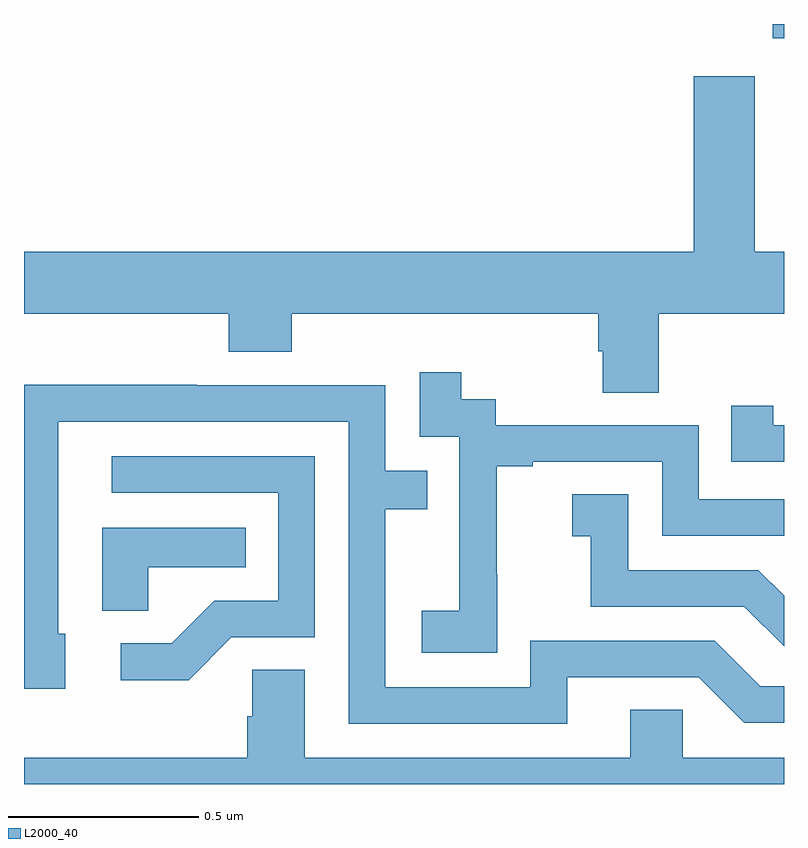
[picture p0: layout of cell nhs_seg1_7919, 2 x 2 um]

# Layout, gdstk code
import gdstk
lib = gdstk.Library(unit=1e-6, precision=1e-09)
def R(c, l, rs):  # rectangles x0, y0, x1, y1
    for r in rs: c.add(gdstk.rectangle(r[:2], r[2:], *l))
def P(c, l, *ps):  # polygons
    for p in ps: c.add(gdstk.Polygon(p, *l))
L2000_40 = (2000, 40)

nhs_seg1_7919 = lib.new_cell('nhs_seg1_7919')
R(nhs_seg1_7919, L2000_40, [(211.97,515.162,212,515.199)])
P(nhs_seg1_7919, L2000_40, [(210,514.436),(210.539,514.436),(210.539,514.337),(210.704,514.337),(210.704,514.436),(211.511,514.436),(211.511,514.338),(211.523,514.338),(211.523,514.228),(211.671,514.228),(211.671,514.436),(212,514.436),(212,514.6),(211.923,514.6),(211.923,515.062),(211.763,515.062),(211.763,514.6),(210,514.6)],
  [(211.245,513.751),(211.244,513.751),(211.244,514.035),(211.339,514.035),(211.339,514.047),(211.68,514.047),(211.68,513.852),(212,513.852),(212,513.948),(211.776,513.948),(211.776,514.143),(211.242,514.143),(211.242,514.212),(211.15,514.212),(211.15,514.282),(211.041,514.282),(211.041,514.113),(211.146,514.113),(211.146,513.884),(211.145,513.884),(211.145,513.655),(211.047,513.655),(211.047,513.545),(211.245,513.545)],
  [(211.429,513.48),(211.776,513.48),(211.896,513.36),(212,513.36),(212,513.456),(211.938,513.456),(211.818,513.576),(211.332,513.576),(211.332,513.453),(210.951,513.453),(210.951,513.922),(211.061,513.922),(211.061,514.023),(210.951,514.023),(210.951,514.248),(210.455,514.248),(210.455,514.25),(210,514.25),(210,513.45),(210.109,513.45),(210.109,513.594),(210.09,513.594),(210.09,514.152),(210.855,514.152),(210.855,513.357),(211.429,513.357)],
  [(212,514.143),(211.972,514.143),(211.972,514.195),(211.861,514.195),(211.861,514.047),(212,514.047)],
  [(210.546,513.585),(210.765,513.585),(210.765,514.062),(210.231,514.062),(210.231,513.966),(210.669,513.966),(210.669,513.681),(210.5,513.681),(210.389,513.57),(210.255,513.57),(210.255,513.472),(210.433,513.472)],
  [(212,513.694),(211.932,513.762),(211.59,513.762),(211.59,513.961),(211.443,513.961),(211.443,513.851),(211.492,513.851),(211.492,513.666),(211.895,513.666),(212,513.561)],
  [(210.327,513.77),(210.584,513.77),(210.584,513.874),(210.206,513.874),(210.206,513.655),(210.327,513.655)],
  [(212,513.268),(211.734,513.268),(211.734,513.395),(211.595,513.395),(211.595,513.268),(210.739,513.268),(210.739,513.5),(210.6,513.5),(210.6,513.377),(210.587,513.377),(210.587,513.268),(210,513.268),(210,513.199),(212,513.199)])

lib.write_gds('nhs_seg1_7919.gds')
